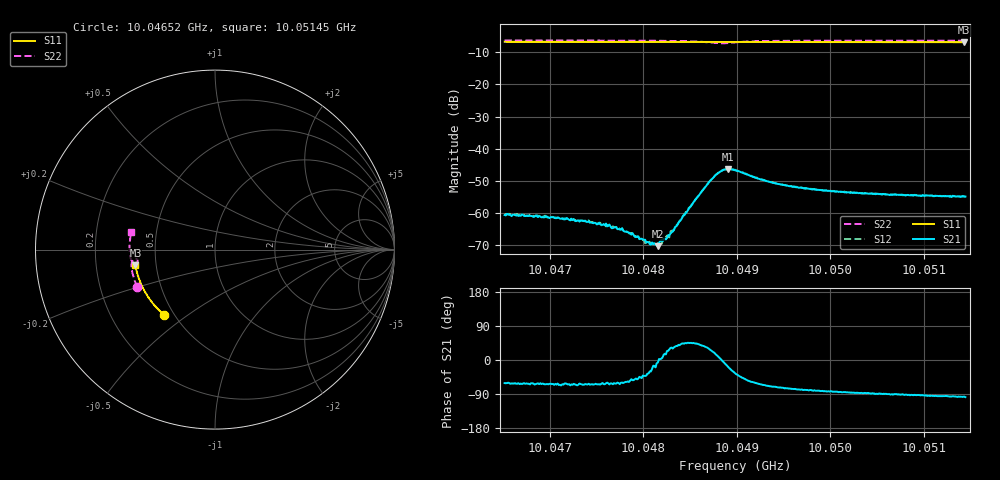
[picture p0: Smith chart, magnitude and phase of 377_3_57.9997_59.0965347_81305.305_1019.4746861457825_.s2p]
#  HZ  S  RI  R  50.00
! Rohde & Schwarz Vector Network Analyzer
! Rohde-Schwarz,ZNB20-2Port,1311601062101988,3.16
! Created: UTC 3/21/2024, 1:07:11 AM
! freq[Hz]  re:S11  im:S11  re:S21  im:S21  re:S12  im:S12  re:S22  im:S22
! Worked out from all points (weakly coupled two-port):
!   401 points, 10.04652 GHz to 10.05145 GHz, reference 50 ohm
!   highest |S21| = -46.34 dB at 10.04891 GHz (marker M1); lowest = -70.3 dB at 10.04816 GHz (marker M2)
!   lowest |S11| = -6.9 dB at 10.05144 GHz (marker M3), VSWR 2.65, Z = 19 - j4.22 ohm
!   |S11| at or under -10 dB: nowhere
!   |S22| runs from -7.2 to -6.4 dB; largest |S21 - S12| = 0.00034
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1.0046518e10  -0.2845 -0.3623  0.000453 -0.000815  0.000529 -0.0008  -0.4335 -0.2081
1.0046937e10  -0.3052 -0.3439  0.000382 -0.000766  0.00045 -0.000765  -0.444 -0.1821
1.0047343e10  -0.324 -0.3249  0.000329 -0.000687  0.000384 -0.000658  -0.4533 -0.1558
1.0047615e10  -0.3362 -0.3117  0.000315 -0.000537  0.000335 -0.000542  -0.4582 -0.1376
1.0047688e10  -0.3393 -0.3079  0.000288 -0.000522  0.000318 -0.000517  -0.4595 -0.1324
1.0047799e10  -0.3441 -0.3023  0.000266 -0.000442  0.000298 -0.000434  -0.4612 -0.1247
1.004796e10  -0.3506 -0.2941  0.00028 -0.000275  0.000291 -0.000292  -0.4634 -0.1129
1.0048021e10  -0.3531 -0.2909  0.000286 -0.000257  0.000256 -0.000221  -0.4641 -0.1083
1.0048058e10  -0.3546 -0.2888  0.000288 -0.000205  0.000324 -0.000179  -0.4643 -0.1055
1.0048157e10  -0.3586 -0.2838  0.000303 -3.49e-05  0.000338 -3.93e-05  -0.465 -0.0977
1.0048169e10  -0.359 -0.2833  0.00034 1.31e-05  0.00033 -1.6e-05  -0.4652 -0.0969
1.0048305e10  -0.3642 -0.2758  0.000421 0.000272  0.000434 0.000305  -0.4653 -0.0856
1.0048564e10  -0.3738 -0.2618  0.0012 0.00114  0.00114 0.0012  -0.4593 -0.0617
1.0048724e10  -0.3793 -0.2528  0.00293 0.00141  0.00283 0.00161  -0.4436 -0.0508
1.0048822e10  -0.3825 -0.2475  0.00437 0.000322  0.00441 0.000593  -0.4316 -0.0569
1.0048909e10  -0.3855 -0.2427  0.00458 -0.00151  0.0047 -0.00123  -0.4326 -0.0694
1.0048983e10  -0.3879 -0.2387  0.0038 -0.00262  0.00404 -0.0024  -0.4419 -0.0744
1.004934e10  -0.3994 -0.2181  0.00114 -0.00287  0.00131 -0.00279  -0.4698 -0.0498
1.0049808e10  -0.4126 -0.1903  0.000385 -0.0023  0.000534 -0.00228  -0.476 -0.0126
1.0050634e10  -0.4312 -0.1394  -4.1e-06 -0.0019  9.38e-05 -0.00195  -0.4747 0.0453
1.0051435e10  -0.4433 -0.0883  -0.000209 -0.0018  -0.000128 -0.00181  -0.466 0.0982
1.0051448e10  -0.4435 -0.0877  -0.000246 -0.00179  -0.000135 -0.00175  -0.466 0.099
